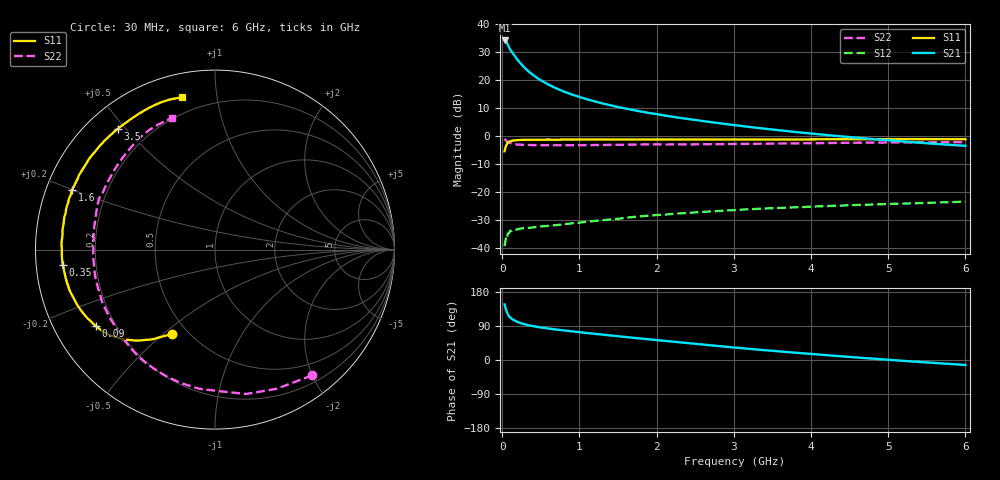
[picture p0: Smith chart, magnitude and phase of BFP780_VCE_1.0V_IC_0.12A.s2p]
! Infineon Technologies  Discrete & RF Semiconductors
! BFP780
! VCE =  1.0 V,  IC = 0.12 A
! Common Emitter S-Parameters:  Jul 2015
# GHz  S  MA  R  50
!  f  S11  S21  S12  S22
! GHz  MAG  ANG  MAG  ANG  MAG  ANG  MAG  ANG
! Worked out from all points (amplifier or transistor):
!   75 points, 30 MHz to 6 GHz, reference 50 ohm
!   highest |S21| = 34.2 dB at 30 MHz (marker M1)
!   |S21| within 3 dB of that: start of sweep to 97.73 MHz
!   unconditionally stable (mu >= 1): 1.373 GHz to end of sweep
!   at 150 MHz: K = 0.17, MSG = 31.4 dB, |S12| = -33.8 dB
!   at 2.3 GHz: K = 1.23, MAG = 14.2 dB, |S12| = -27.8 dB
!   at 6 GHz: K = 1.67, MAG = 5.2 dB, |S12| = -23.6 dB
!   S11 on the Smith chart (normalised r, x): 30 MHz: 0.41, -0.53; 90 MHz: 0.13, -0.29; 350 MHz: 0.08, -0.05; 1.6 GHz: 0.08, +0.20; 3.5 GHz: 0.09, +0.47; 6 GHz: 0.12, +0.80
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0.03  0.5288 -117.2  51.02 146.7  0.0106 58.4  0.8858 -52.3
0.04  0.6095 -124.9  50.22 138.8  0.013 54.4  0.8481 -66.1
0.05  0.6674 -130.5  48.92 132.0  0.0154 47.7  0.8231 -77.8
0.06  0.714 -135.5  46.5 126.1  0.0146 42.8  0.7905 -87.6
0.08  0.7737 -143.9  40.52 117.7  0.0179 36.6  0.768 -103.8
0.09  0.7886 -147.2  37.78 114.9  0.0184 33.5  0.7579 -110.4
0.11  0.8083 -152.0  33.85 110.7  0.0201 30.9  0.7395 -121.6
0.14  0.8237 -156.9  29.61 106.4  0.0204 25.6  0.7161 -133.3
0.2  0.8411 -164.1  22.7 100.1  0.0213 22.6  0.6988 -147.4
0.25  0.8463 -168.3  18.9 96.5  0.0221 20.5  0.6934 -155.0
0.35  0.8518 -174.2  13.87 91.3  0.0226 19.6  0.6849 -164.5
0.45  0.8538 -178.2  10.92 87.5  0.0235 20.0  0.6817 -170.4
0.6  0.8558 177.2  8.253 83.0  0.0245 21.5  0.6799 -176.7
0.8  0.8567 172.3  6.197 78.0  0.0262 22.9  0.6795 177.4
1.1  0.8569 166.2  4.498 71.1  0.0291 25.7  0.6819 170.6
1.6  0.8627 157.5  3.081 60.6  0.0342 27.6  0.6949 161.9
2.1  0.863 149.6  2.318 50.6  0.0388 26.5  0.7003 154.5
3.1  0.864 134.4  1.502 31.3  0.0478 21.9  0.7181 139.6
3.5  0.8642 128.9  1.298 24.3  0.0507 19.7  0.7273 134.4
4.1  0.8663 120.9  1.068 14.4  0.0547 16.3  0.7414 127.5
5.1  0.874 110.1  0.812 -0.8  0.0609 10.1  0.7615 117.3
6  0.8684 102.4  0.662 -13.2  0.0664 4.5  0.7715 108.3
